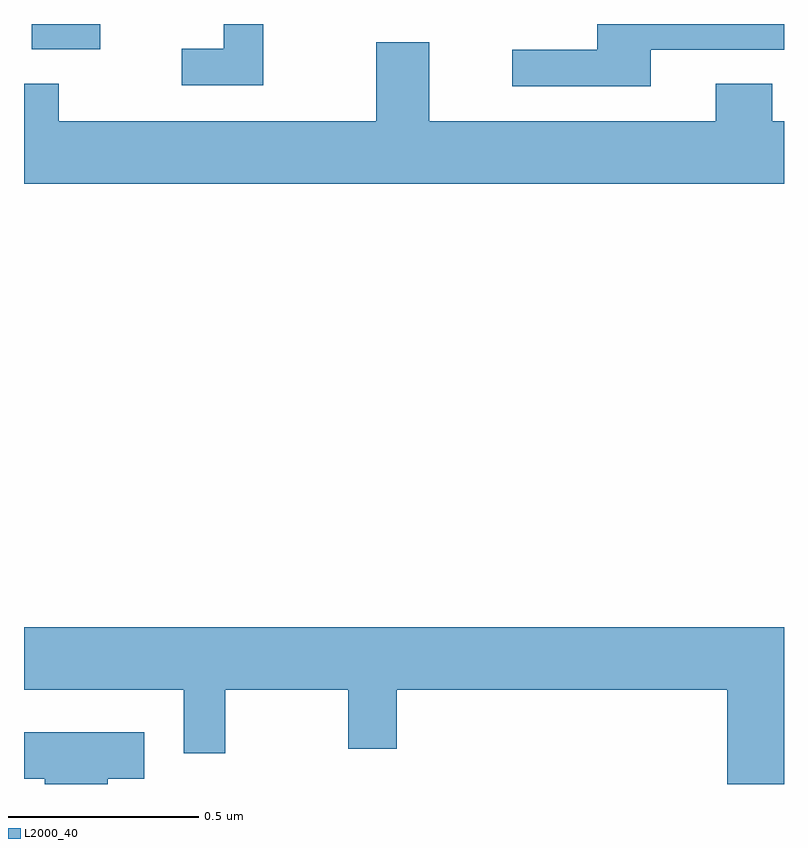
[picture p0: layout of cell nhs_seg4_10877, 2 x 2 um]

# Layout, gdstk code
import gdstk
lib = gdstk.Library(unit=1e-6, precision=1e-09)
def R(c, l, rs):  # rectangles x0, y0, x1, y1
    for r in rs: c.add(gdstk.rectangle(r[:2], r[2:], *l))
def P(c, l, *ps):  # polygons
    for p in ps: c.add(gdstk.Polygon(p, *l))
L2000_40 = (2000, 40)

nhs_seg4_10877 = lib.new_cell('nhs_seg4_10877')
R(nhs_seg4_10877, L2000_40, [(245.021,803.834,245.2,803.9)])
P(nhs_seg4_10877, L2000_40, [(245.629,803.9),(245.525,803.9),(245.525,803.835),(245.415,803.835),(245.415,803.739),(245.629,803.739)],
  [(246.649,803.832),(247,803.832),(247,803.9),(246.509,803.9),(246.509,803.832),(246.285,803.832),(246.285,803.736),(246.649,803.736)],
  [(247,803.644),(246.969,803.644),(246.969,803.743),(246.821,803.743),(246.821,803.644),(246.067,803.644),(246.067,803.852),(245.927,803.852),(245.927,803.644),(245.091,803.644),(245.091,803.743),(245,803.743),(245,803.48),(247,803.48)],
  [(245,802.148),(245.421,802.148),(245.421,801.981),(245.53,801.981),(245.53,802.148),(245.853,802.148),(245.853,801.993),(245.981,801.993),(245.981,802.148),(246.851,802.148),(246.851,801.9),(247,801.9),(247,802.312),(245,802.312)],
  [(245.221,801.914),(245.317,801.914),(245.317,802.036),(245,802.036),(245,801.914),(245.055,801.914),(245.055,801.9),(245.221,801.9)])

lib.write_gds('nhs_seg4_10877.gds')
